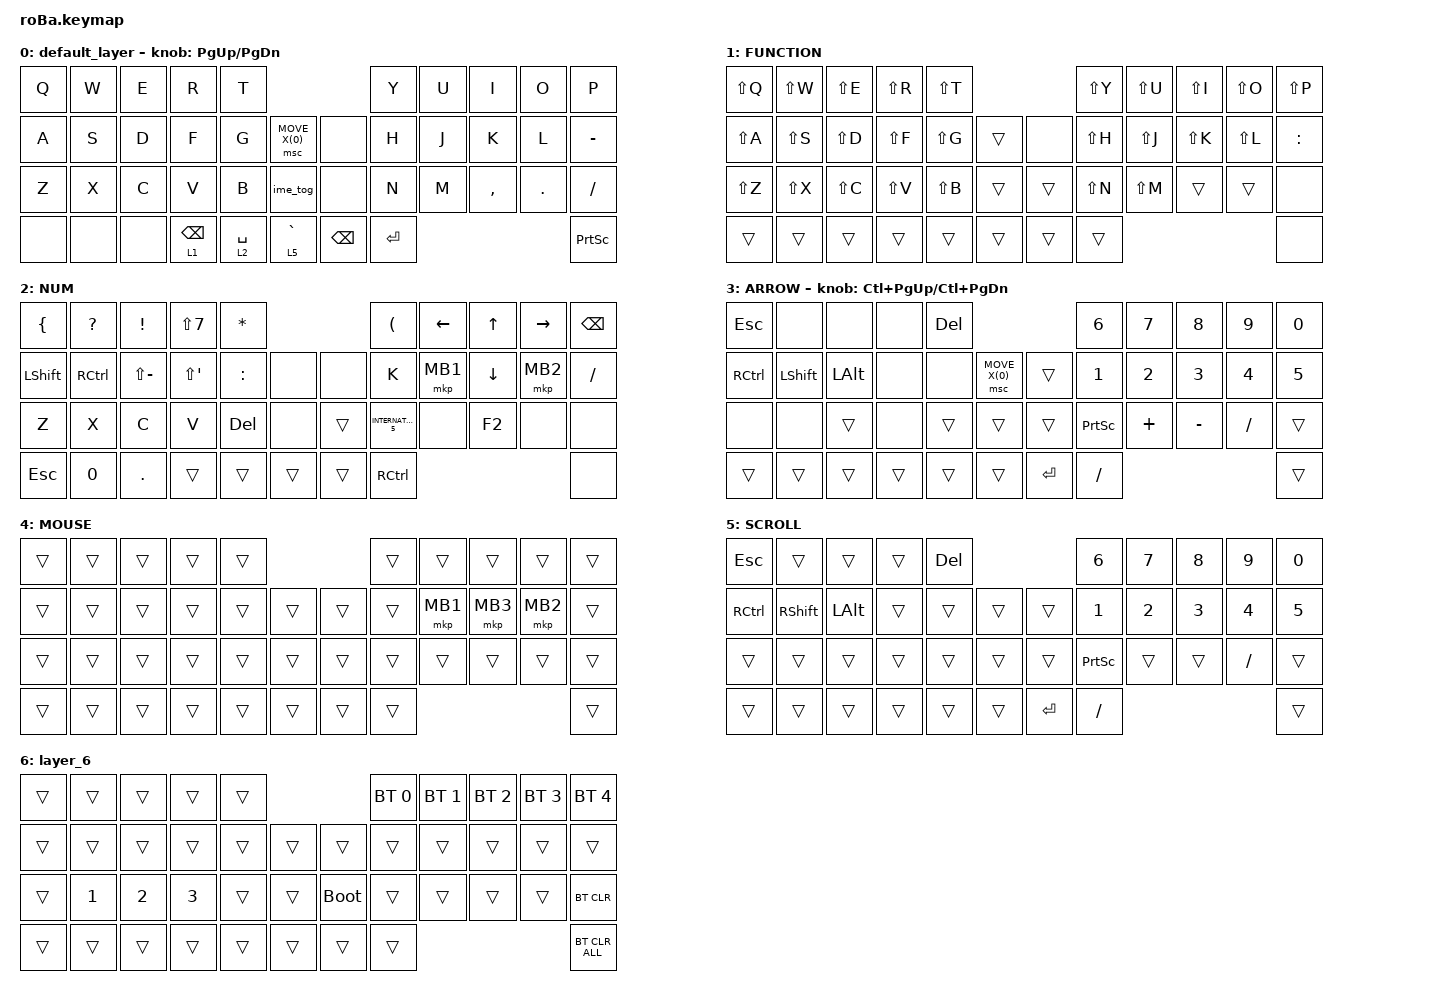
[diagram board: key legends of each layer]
#include <behaviors.dtsi>
#include <dt-bindings/zmk/bt.h>
#include <dt-bindings/zmk/keys.h>
#include <dt-bindings/zmk/pointing.h>

&mt {
    flavor = "balanced";
    quick-tap-ms = <0>;
};

&trackball {
    automouse-layer = <4>;
    scroll-layers = <5>;

    // arrows {
    //     layers = <3>;
    //     bindings =
    //         <&kp RIGHT_ARROW>,
    //         <&kp LEFT_ARROW>,
    //         <&kp UP_ARROW>,
    //         <&kp DOWN_ARROW>;
    //     tick = <10>;
    //     wait-ms = <5>;
    //     tap-ms = <5>;
    // };
};

/ {
    combos {
        compatible = "zmk,combos";

        tab {
            bindings = <&kp TAB>;
            key-positions = <11 12>;
        };

        shift_tab {
            bindings = <&kp LS(TAB)>;
            key-positions = <12 13>;
        };

        muhennkann {
            bindings = <&ime_tog INT_MUHENKAN>;
            key-positions = <11 10>;
        };

        double_quotation {
            bindings = <&kp DOUBLE_QUOTES>;
            key-positions = <20 21>;
        };

        eq {
            bindings = <&kp EQUAL>;
            key-positions = <24 25>;
        };
    };

    macros {
        ime_tog: to_layer_0 {
            compatible = "zmk,behavior-macro";
            #binding-cells = <0>;
            bindings =
                <&macro_press>,
                <&kp LALT>,
                <&macro_tap>,
                <&kp GRAVE>,
                <&macro_release>,
                <&kp LALT>;

            label = "TO_LAYER_0";
        };
    };

    behaviors {
        lt_to_layer_0: lt_to_layer_0 {
            compatible = "zmk,behavior-hold-tap";
            label = "LAYER_TAP_TO_0";
            bindings = <&mo>, <&ime_tog>;

            #binding-cells = <2>;
            tapping-term-ms = <200>;
        };
    };

    keymap {
        compatible = "zmk,keymap";

        default_layer {
            bindings = <
&kp Q  &kp W  &kp E  &kp R            &kp T                                           &kp Y      &kp U  &kp I      &kp O    &kp P
&kp A  &kp S  &kp D  &kp F            &kp G        &msc MOVE_X(0)      &none          &kp H      &kp J  &kp K      &kp L    &kp MINUS
&kp Z  &kp X  &kp C  &kp V            &kp B        &ime_tog            &none          &kp N      &kp M  &kp COMMA  &kp DOT  &kp SLASH
&none  &none  &none  &lt 1 BACKSPACE  &lt 2 SPACE  &lt 5 GRAVE         &kp BACKSPACE  &kp ENTER                             &kp PRINTSCREEN
            >;

            sensor-bindings = <&inc_dec_kp PG_UP PAGE_DOWN>;
        };

        FUNCTION {
            bindings = <
&kp LS(Q)  &kp LS(W)  &kp LS(E)  &kp LS(R)  &kp LS(T)                      &kp LS(Y)  &kp LS(U)  &kp LS(I)  &kp LS(O)  &kp LS(P)
&kp LS(A)  &kp LS(S)  &kp LS(D)  &kp LS(F)  &kp LS(G)  &trans      &none   &kp LS(H)  &kp LS(J)  &kp LS(K)  &kp LS(L)  &kp COLON
&kp LS(Z)  &kp LS(X)  &kp LS(C)  &kp LS(V)  &kp LS(B)  &trans      &trans  &kp LS(N)  &kp LS(M)  &trans     &trans     &none
&trans     &trans     &trans     &trans     &trans     &trans      &trans  &trans                                      &none
            >;
        };

        NUM {
            bindings = <
&kp LBRC        &kp QUESTION  &kp EXCLAMATION  &kp LS(NUMBER_7)      &kp ASTERISK                      &kp LEFT_PARENTHESIS  &kp LEFT  &kp UP    &kp RIGHT  &kp BACKSPACE
&kp LEFT_SHIFT  &kp RCTRL     &kp LS(MINUS)    &kp LS(SINGLE_QUOTE)  &kp COLON     &none       &none   &kp K                 &mkp MB1  &kp DOWN  &mkp MB2   &kp SLASH
&kp Z           &kp X         &kp C            &kp V                 &kp DEL       &none       &trans  &kp INTERNATIONAL_5   &none     &kp F2    &none      &none
&kp ESCAPE      &kp NUMBER_0  &kp PERIOD       &trans                &trans        &trans      &trans  &kp RCTRL                                            &none
            >;
        };

        ARROW {
            bindings = <
&kp ESCAPE  &none           &none         &none   &kp DELETE                                 &kp NUMBER_6     &kp N7        &kp N8        &kp N9        &kp N0
&kp RCTRL   &kp LEFT_SHIFT  &kp LEFT_ALT  &none   &none       &msc MOVE_X(0)      &trans     &kp NUMBER_1     &kp NUMBER_2  &kp NUMBER_3  &kp NUMBER_4  &kp N5
&none       &none           &trans        &none   &trans      &trans              &trans     &kp PRINTSCREEN  &kp PLUS      &kp MINUS     &kp SLASH     &trans
&trans      &trans          &trans        &trans  &trans      &trans              &kp ENTER  &kp SLASH                                                  &trans
            >;

            sensor-bindings = <&inc_dec_kp LC(PAGE_UP) LC(PAGE_DOWN)>;
        };

        MOUSE {
            bindings = <
&trans  &trans  &trans  &trans  &trans                      &trans  &trans    &trans    &trans    &trans
&trans  &trans  &trans  &trans  &trans  &trans      &trans  &trans  &mkp MB1  &mkp MB3  &mkp MB2  &trans
&trans  &trans  &trans  &trans  &trans  &trans      &trans  &trans  &trans    &trans    &trans    &trans
&trans  &trans  &trans  &trans  &trans  &trans      &trans  &trans                                &trans
            >;
        };

        SCROLL {
            bindings = <
&kp ESCAPE  &trans      &trans        &trans  &kp DELETE                         &kp NUMBER_6     &kp N7        &kp N8        &kp N9        &kp N0
&kp RCTRL   &kp RSHIFT  &kp LEFT_ALT  &trans  &trans      &trans      &trans     &kp NUMBER_1     &kp NUMBER_2  &kp NUMBER_3  &kp NUMBER_4  &kp N5
&trans      &trans      &trans        &trans  &trans      &trans      &trans     &kp PRINTSCREEN  &trans        &trans        &kp SLASH     &trans
&trans      &trans      &trans        &trans  &trans      &trans      &kp ENTER  &kp SLASH                                                  &trans
            >;
        };

        layer_6 {
            bindings = <
&trans  &trans        &trans        &trans        &trans                           &bt BT_SEL 0  &bt BT_SEL 1  &bt BT_SEL 2  &bt BT_SEL 3  &bt BT_SEL 4
&trans  &trans        &trans        &trans        &trans  &trans      &trans       &trans        &trans        &trans        &trans        &trans
&trans  &kp NUMBER_1  &kp NUMBER_2  &kp NUMBER_3  &trans  &trans      &bootloader  &trans        &trans        &trans        &trans        &bt BT_CLR
&trans  &trans        &trans        &trans        &trans  &trans      &trans       &trans                                                  &bt BT_CLR_ALL
            >;
        };
    };
};
